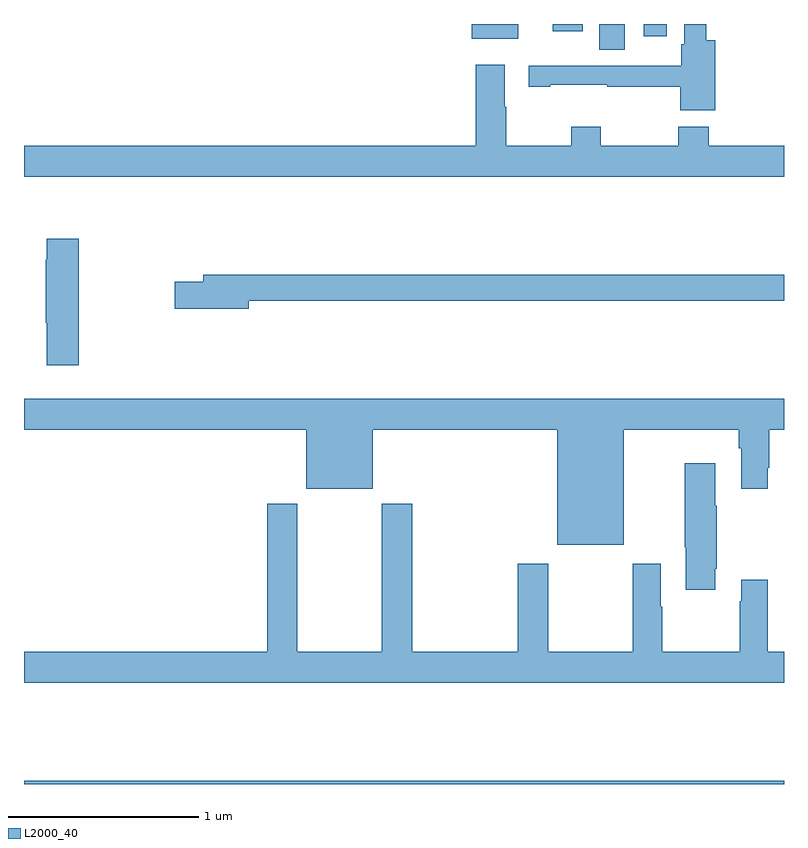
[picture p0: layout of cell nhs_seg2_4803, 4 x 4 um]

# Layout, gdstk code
import gdstk
lib = gdstk.Library(unit=1e-6, precision=1e-09)
def R(c, l, rs):  # rectangles x0, y0, x1, y1
    for r in rs: c.add(gdstk.rectangle(r[:2], r[2:], *l))
def P(c, l, *ps):  # polygons
    for p in ps: c.add(gdstk.Polygon(p, *l))
L2000_40 = (2000, 40)

nhs_seg2_4803 = lib.new_cell('nhs_seg2_4803')
R(nhs_seg2_4803, L2000_40, [(373,617.8,377,617.816), (376.028,621.664,376.162,621.8), (375.356,621.722,375.601,621.8), (376.262,621.735,376.384,621.8), (375.782,621.762,375.94,621.8)])
P(nhs_seg2_4803, L2000_40, [(376.637,621.715),(376.592,621.715),(376.592,621.8),(376.476,621.8),(376.476,621.693),(376.459,621.693),(376.459,621.58),(376.266,621.58),(376.266,621.579),(375.932,621.579),(375.932,621.581),(375.657,621.581),(375.657,621.471),(375.769,621.471),(375.769,621.481),(376.07,621.481),(376.07,621.471),(376.454,621.471),(376.454,621.345),(376.637,621.345)],
  [(375.377,621.586),(375.377,621.16),(373,621.16),(373,620.996),(377,620.996),(377,621.16),(376.604,621.16),(376.604,621.259),(376.444,621.259),(376.444,621.16),(376.035,621.16),(376.035,621.259),(375.88,621.259),(375.88,621.16),(375.537,621.16),(375.537,621.365),(375.529,621.365),(375.529,621.586)],
  [(373.289,620.671),(373.121,620.671),(373.121,620.558),(373.114,620.558),(373.114,620.227),(373.121,620.227),(373.121,620.004),(373.289,620.004)],
  [(374.182,620.344),(377,620.344),(377,620.48),(373.943,620.48),(373.943,620.444),(373.794,620.444),(373.794,620.302),(374.182,620.302)],
  [(373,619.664),(374.486,619.664),(374.486,619.355),(374.836,619.355),(374.836,619.664),(375.806,619.664),(375.806,619.058),(376.156,619.058),(376.156,619.664),(376.763,619.664),(376.763,619.568),(376.775,619.568),(376.775,619.353),(376.915,619.353),(376.915,619.465),(376.923,619.465),(376.923,619.664),(377,619.664),(377,619.828),(373,619.828)],
  [(376.639,618.934),(376.647,618.934),(376.647,619.265),(376.639,619.265),(376.639,619.489),(376.477,619.489),(376.477,619.045),(376.484,619.045),(376.484,618.822),(376.639,618.822)],
  [(377,618.496),(376.915,618.496),(376.915,618.874),(376.775,618.874),(376.775,618.761),(376.768,618.761),(376.768,618.496),(376.359,618.496),(376.359,618.734),(376.351,618.734),(376.351,618.958),(376.204,618.958),(376.204,618.496),(375.759,618.496),(375.759,618.958),(375.599,618.958),(375.599,618.496),(375.044,618.496),(375.044,619.276),(374.884,619.276),(374.884,618.496),(374.439,618.496),(374.439,619.276),(374.279,619.276),(374.279,618.496),(373,618.496),(373,618.332),(377,618.332)])

lib.write_gds('nhs_seg2_4803.gds')
